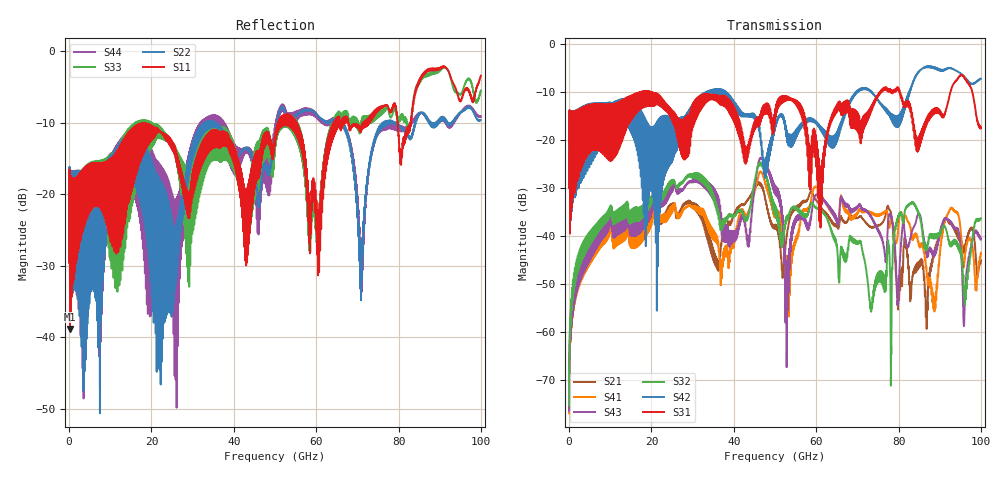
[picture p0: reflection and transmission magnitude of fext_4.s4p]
# Hz S RI R 50
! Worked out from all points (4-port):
!   10000 points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, 10 MHz to 100 GHz, reference 50 ohm
!   strongest paths, dB at 10 MHz, 25.01 GHz, 50.01 GHz, 75.01 GHz, 100 GHz:
!     S31: -29.9, -15.1, -13.5, -10.4, -17.5
!     S42: -29.9, -15.8, -16.8, -11.6, -7.2
!     S32: -75.2, -28.9, -35.1, -49.2, -36.2
!     S43: -76.4, -29.9, -30.1, -38.9, -40.5
!     S41: -76.9, -34.4, -35.4, -35.7, -43.4
!     S21: -76.1, -34.0, -38.4, -37.8, -45.0
!   lowest |S11| = -38.8 dB at 230 MHz (marker M1), VSWR 1.02, Z = 51.1 + j0.262 ohm
!   |S11| at or under -10 dB: start of sweep to 50.81 GHz; 55.14 GHz to 64.4 GHz (9.263 GHz wide, 15.5 % of centre); 67.8 GHz to 71.43 GHz (3.63 GHz wide, 5.21 % of centre)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
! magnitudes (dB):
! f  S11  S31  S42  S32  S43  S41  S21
! 10 MHz  -29.5  -29.9  -29.9  -75.2  -76.4  -76.9  -76.1
! 230 MHz  -38.8  -39.4  -38.8  -57.1  -58.7  -59.6  -58.3
! 9.86 GHz  -24.5  -19.7  -16.6  -33.9  -35.7  -37.2  -36.1
! 46.63 GHz  -13.0  -14.7  -20.6  -25.2  -23.7  -26.7  -29.6
! 52.93 GHz  -9.2  -11.2  -19.9  -36.6  -47.6  -52.8  -39.7
! 73.36 GHz  -9.0  -13.5  -9.8  -55.7  -36.1  -35.2  -38.2
! 100 GHz  -3.5  -17.5  -7.2  -36.2  -40.5  -43.4  -45.0
